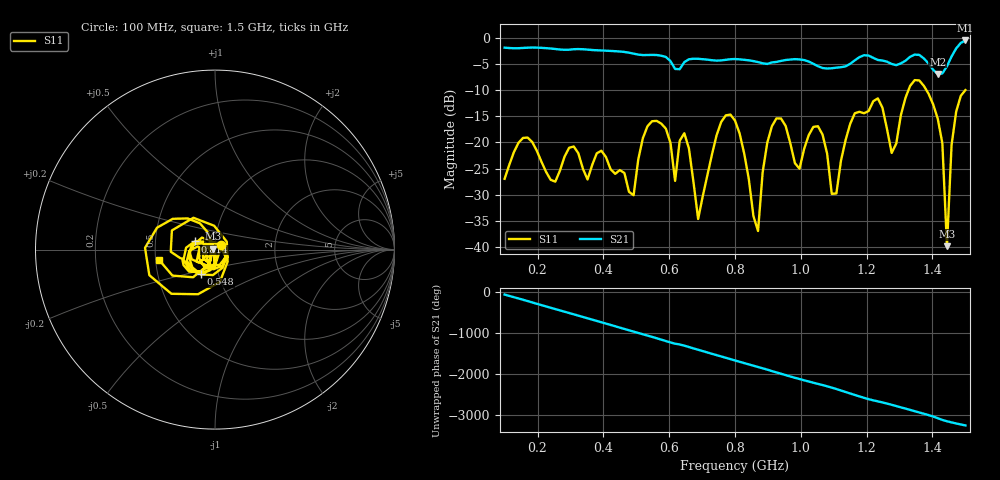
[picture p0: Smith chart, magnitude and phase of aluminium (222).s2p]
! NanoVNA-App
! Date: 2025-09-25 14:57:00
! Start: 100MHz Stop: 1,5GHz Points: 101
! S-Parameter data: F S11 S21 S12 S22
# Hz S RI R 50
!  Frequency  S11_Real  S11_Imag  S21_Real  S21_Imag  S12_Real  S12_Imag  S22_Real  S22_Imag
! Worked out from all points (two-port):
!   101 points, 100 MHz to 1.5 GHz, reference 50 ohm
!   highest |S21| = -0.54 dB at 1.5 GHz (marker M1); lowest = -7.0 dB at 1.416 GHz (marker M2)
!   |S21| within 3 dB of the highest: start of sweep to 580.8 MHz; 1.459 GHz to end of sweep (the widest 2 of 4)
!   lowest |S11| = -39.8 dB at 1.444 GHz (marker M3), VSWR 1.02, Z = 49.2 + j0.555 ohm
!   |S11| at or under -10 dB: start of sweep to 1.327 GHz; 1.381 GHz to end of sweep
!   S12 and S22 are empty: the file has one direction only
!   S11 on the Smith chart (normalised r, x): 100 MHz: 1.07, +0.06; 548 MHz: 0.82, -0.23; 814 MHz: 0.79, +0.07; 1.5 GHz: 0.52, -0.07
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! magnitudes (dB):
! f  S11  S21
! 100 MHz  -27.0  -1.9
! 338 MHz  -25.1  -2.2
! 492 MHz  -30.1  -3.1
! 548 MHz  -16.0  -3.3
! 576 MHz  -16.4  -3.5
! 618 MHz  -27.4  -6.0
! 646 MHz  -18.3  -4.7
! 688 MHz  -34.6  -4.1
! 800 MHz  -15.8  -4.1
! 814 MHz  -18.3  -4.2
! 870 MHz  -36.9  -4.7
! 912 MHz  -16.9  -4.7
! 996 MHz  -25.0  -4.2
! 1.038 GHz  -17.1  -5.0
! 1.094 GHz  -29.8  -5.9
! 1.164 GHz  -14.4  -4.3
! 1.276 GHz  -22.0  -5.0
! 1.346 GHz  -8.1  -3.2
! 1.416 GHz  -15.5  -7.0
! 1.444 GHz  -39.8  -5.5
! 1.458 GHz  -20.5  -3.6
! 1.5 GHz  -10.0  -0.5
